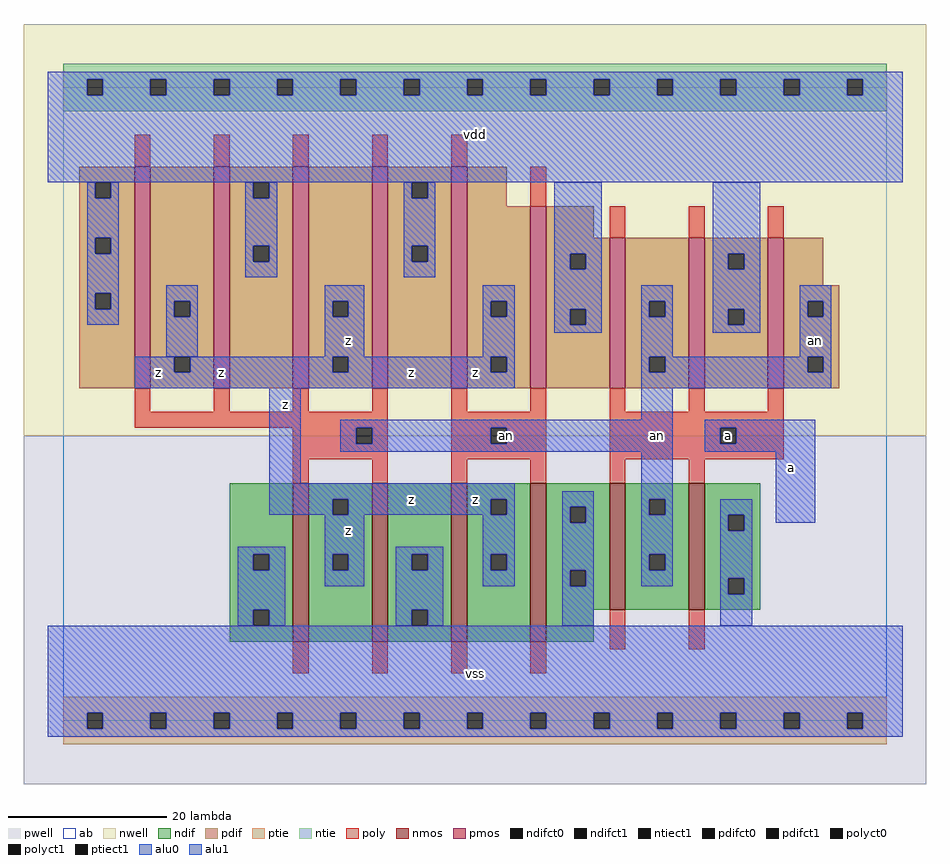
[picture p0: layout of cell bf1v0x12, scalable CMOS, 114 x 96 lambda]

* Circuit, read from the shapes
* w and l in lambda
.subckt bf1v0x12 a an vdd vss z
M1 z an vss vss nfet w=20 l=2 m=4
M2 an a vss vss nfet w=16 l=2 m=2
M3 z an vdd vdd pfet w=28 l=2 m=5
M4 vdd an z vdd pfet w=23 l=2
M5 an a vdd vdd pfet w=19 l=2 m=3
.ends

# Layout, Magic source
magic
tech scmos
<< ab >>
rect 0 0 104 80
<< nwell >>
rect -5 36 109 88
<< pwell >>
rect -5 -8 109 36
<< poly >>
rect 9 70 11 74
rect 19 70 21 74
rect 29 70 31 74
rect 39 70 41 74
rect 49 70 51 74
rect 59 65 61 70
rect 69 61 71 65
rect 79 61 81 65
rect 89 61 91 65
rect 9 39 11 42
rect 19 39 21 42
rect 29 39 31 42
rect 39 39 41 42
rect 9 37 41 39
rect 29 35 37 37
rect 39 35 41 37
rect 29 33 41 35
rect 29 30 31 33
rect 39 30 41 33
rect 49 39 51 42
rect 59 39 61 42
rect 49 37 61 39
rect 49 35 54 37
rect 56 35 61 37
rect 49 33 61 35
rect 49 30 51 33
rect 59 30 61 33
rect 69 39 71 42
rect 79 39 81 42
rect 89 39 91 42
rect 69 37 91 39
rect 69 35 83 37
rect 85 35 91 37
rect 69 33 91 35
rect 69 30 71 33
rect 79 30 81 33
rect 29 6 31 10
rect 39 6 41 10
rect 49 6 51 10
rect 59 6 61 10
rect 69 9 71 14
rect 79 9 81 14
<< ndif >>
rect 21 21 29 30
rect 21 19 24 21
rect 26 19 29 21
rect 21 14 29 19
rect 21 12 24 14
rect 26 12 29 14
rect 21 10 29 12
rect 31 28 39 30
rect 31 26 34 28
rect 36 26 39 28
rect 31 21 39 26
rect 31 19 34 21
rect 36 19 39 21
rect 31 10 39 19
rect 41 21 49 30
rect 41 19 44 21
rect 46 19 49 21
rect 41 14 49 19
rect 41 12 44 14
rect 46 12 49 14
rect 41 10 49 12
rect 51 28 59 30
rect 51 26 54 28
rect 56 26 59 28
rect 51 21 59 26
rect 51 19 54 21
rect 56 19 59 21
rect 51 10 59 19
rect 61 27 69 30
rect 61 25 64 27
rect 66 25 69 27
rect 61 19 69 25
rect 61 17 64 19
rect 66 17 69 19
rect 61 14 69 17
rect 71 28 79 30
rect 71 26 74 28
rect 76 26 79 28
rect 71 21 79 26
rect 71 19 74 21
rect 76 19 79 21
rect 71 14 79 19
rect 81 26 88 30
rect 81 24 84 26
rect 86 24 88 26
rect 81 18 88 24
rect 81 16 84 18
rect 86 16 88 18
rect 81 14 88 16
rect 61 10 67 14
<< pdif >>
rect 2 68 9 70
rect 2 66 4 68
rect 6 66 9 68
rect 2 61 9 66
rect 2 59 4 61
rect 6 59 9 61
rect 2 54 9 59
rect 2 52 4 54
rect 6 52 9 54
rect 2 42 9 52
rect 11 53 19 70
rect 11 51 14 53
rect 16 51 19 53
rect 11 46 19 51
rect 11 44 14 46
rect 16 44 19 46
rect 11 42 19 44
rect 21 68 29 70
rect 21 66 24 68
rect 26 66 29 68
rect 21 60 29 66
rect 21 58 24 60
rect 26 58 29 60
rect 21 42 29 58
rect 31 53 39 70
rect 31 51 34 53
rect 36 51 39 53
rect 31 46 39 51
rect 31 44 34 46
rect 36 44 39 46
rect 31 42 39 44
rect 41 68 49 70
rect 41 66 44 68
rect 46 66 49 68
rect 41 60 49 66
rect 41 58 44 60
rect 46 58 49 60
rect 41 42 49 58
rect 51 65 56 70
rect 51 53 59 65
rect 51 51 54 53
rect 56 51 59 53
rect 51 46 59 51
rect 51 44 54 46
rect 56 44 59 46
rect 51 42 59 44
rect 61 61 67 65
rect 61 59 69 61
rect 61 57 64 59
rect 66 57 69 59
rect 61 52 69 57
rect 61 50 64 52
rect 66 50 69 52
rect 61 42 69 50
rect 71 53 79 61
rect 71 51 74 53
rect 76 51 79 53
rect 71 46 79 51
rect 71 44 74 46
rect 76 44 79 46
rect 71 42 79 44
rect 81 59 89 61
rect 81 57 84 59
rect 86 57 89 59
rect 81 52 89 57
rect 81 50 84 52
rect 86 50 89 52
rect 81 42 89 50
rect 91 55 96 61
rect 91 53 98 55
rect 91 51 94 53
rect 96 51 98 53
rect 91 46 98 51
rect 91 44 94 46
rect 96 44 98 46
rect 91 42 98 44
<< alu1 >>
rect -2 81 106 82
rect -2 79 3 81
rect 5 79 11 81
rect 13 79 19 81
rect 21 79 27 81
rect 29 79 35 81
rect 37 79 43 81
rect 45 79 51 81
rect 53 79 59 81
rect 61 79 67 81
rect 69 79 75 81
rect 77 79 83 81
rect 85 79 91 81
rect 93 79 99 81
rect 101 79 106 81
rect -2 68 106 79
rect 33 53 38 55
rect 33 51 34 53
rect 36 51 38 53
rect 33 46 38 51
rect 53 53 57 55
rect 53 51 54 53
rect 56 51 57 53
rect 53 46 57 51
rect 9 44 14 46
rect 16 44 34 46
rect 36 44 54 46
rect 56 44 57 46
rect 9 42 57 44
rect 26 30 30 42
rect 81 37 95 38
rect 81 35 83 37
rect 85 35 95 37
rect 81 34 95 35
rect 26 28 57 30
rect 26 26 34 28
rect 36 26 54 28
rect 56 26 57 28
rect 33 21 38 26
rect 33 19 34 21
rect 36 19 38 21
rect 33 17 38 19
rect 53 21 57 26
rect 53 19 54 21
rect 56 19 57 21
rect 53 17 57 19
rect 90 25 95 34
rect -2 1 106 12
rect -2 -1 3 1
rect 5 -1 11 1
rect 13 -1 19 1
rect 21 -1 27 1
rect 29 -1 35 1
rect 37 -1 43 1
rect 45 -1 51 1
rect 53 -1 59 1
rect 61 -1 67 1
rect 69 -1 75 1
rect 77 -1 83 1
rect 85 -1 91 1
rect 93 -1 99 1
rect 101 -1 106 1
rect -2 -2 106 -1
<< ptie >>
rect 0 1 104 3
rect 0 -1 3 1
rect 5 -1 11 1
rect 13 -1 19 1
rect 21 -1 27 1
rect 29 -1 35 1
rect 37 -1 43 1
rect 45 -1 51 1
rect 53 -1 59 1
rect 61 -1 67 1
rect 69 -1 75 1
rect 77 -1 83 1
rect 85 -1 91 1
rect 93 -1 99 1
rect 101 -1 104 1
rect 0 -3 104 -1
<< ntie >>
rect 0 81 104 83
rect 0 79 3 81
rect 5 79 11 81
rect 13 79 19 81
rect 21 79 27 81
rect 29 79 35 81
rect 37 79 43 81
rect 45 79 51 81
rect 53 79 59 81
rect 61 79 67 81
rect 69 79 75 81
rect 77 79 83 81
rect 85 79 91 81
rect 93 79 99 81
rect 101 79 104 81
rect 0 77 104 79
<< nmos >>
rect 29 10 31 30
rect 39 10 41 30
rect 49 10 51 30
rect 59 10 61 30
rect 69 14 71 30
rect 79 14 81 30
<< pmos >>
rect 9 42 11 70
rect 19 42 21 70
rect 29 42 31 70
rect 39 42 41 70
rect 49 42 51 70
rect 59 42 61 65
rect 69 42 71 61
rect 79 42 81 61
rect 89 42 91 61
<< polyct0 >>
rect 37 35 39 37
rect 54 35 56 37
<< polyct1 >>
rect 83 35 85 37
<< ndifct0 >>
rect 24 19 26 21
rect 24 12 26 14
rect 44 19 46 21
rect 44 12 46 14
rect 64 25 66 27
rect 64 17 66 19
rect 74 26 76 28
rect 74 19 76 21
rect 84 24 86 26
rect 84 16 86 18
<< ndifct1 >>
rect 34 26 36 28
rect 34 19 36 21
rect 54 26 56 28
rect 54 19 56 21
<< ntiect1 >>
rect 3 79 5 81
rect 11 79 13 81
rect 19 79 21 81
rect 27 79 29 81
rect 35 79 37 81
rect 43 79 45 81
rect 51 79 53 81
rect 59 79 61 81
rect 67 79 69 81
rect 75 79 77 81
rect 83 79 85 81
rect 91 79 93 81
rect 99 79 101 81
<< ptiect1 >>
rect 3 -1 5 1
rect 11 -1 13 1
rect 19 -1 21 1
rect 27 -1 29 1
rect 35 -1 37 1
rect 43 -1 45 1
rect 51 -1 53 1
rect 59 -1 61 1
rect 67 -1 69 1
rect 75 -1 77 1
rect 83 -1 85 1
rect 91 -1 93 1
rect 99 -1 101 1
<< pdifct0 >>
rect 4 66 6 68
rect 4 59 6 61
rect 4 52 6 54
rect 14 51 16 53
rect 24 66 26 68
rect 24 58 26 60
rect 44 66 46 68
rect 44 58 46 60
rect 64 57 66 59
rect 64 50 66 52
rect 74 51 76 53
rect 74 44 76 46
rect 84 57 86 59
rect 84 50 86 52
rect 94 51 96 53
rect 94 44 96 46
<< pdifct1 >>
rect 14 44 16 46
rect 34 51 36 53
rect 34 44 36 46
rect 54 51 56 53
rect 54 44 56 46
<< alu0 >>
rect 3 66 4 68
rect 6 66 7 68
rect 3 61 7 66
rect 3 59 4 61
rect 6 59 7 61
rect 3 54 7 59
rect 23 66 24 68
rect 26 66 27 68
rect 23 60 27 66
rect 23 58 24 60
rect 26 58 27 60
rect 23 56 27 58
rect 43 66 44 68
rect 46 66 47 68
rect 43 60 47 66
rect 43 58 44 60
rect 46 58 47 60
rect 43 56 47 58
rect 62 59 68 68
rect 62 57 64 59
rect 66 57 68 59
rect 3 52 4 54
rect 6 52 7 54
rect 3 50 7 52
rect 13 53 17 55
rect 13 51 14 53
rect 16 51 17 53
rect 13 46 17 51
rect 62 52 68 57
rect 82 59 88 68
rect 82 57 84 59
rect 86 57 88 59
rect 62 50 64 52
rect 66 50 68 52
rect 62 49 68 50
rect 73 53 77 55
rect 73 51 74 53
rect 76 51 77 53
rect 73 46 77 51
rect 82 52 88 57
rect 82 50 84 52
rect 86 50 88 52
rect 82 49 88 50
rect 93 53 97 55
rect 93 51 94 53
rect 96 51 97 53
rect 93 46 97 51
rect 73 44 74 46
rect 76 44 94 46
rect 96 44 97 46
rect 73 42 97 44
rect 73 38 77 42
rect 35 37 77 38
rect 35 35 37 37
rect 39 35 54 37
rect 56 35 77 37
rect 35 34 77 35
rect 22 21 28 22
rect 22 19 24 21
rect 26 19 28 21
rect 22 14 28 19
rect 42 21 48 22
rect 42 19 44 21
rect 46 19 48 21
rect 22 12 24 14
rect 26 12 28 14
rect 42 14 48 19
rect 63 27 67 29
rect 63 25 64 27
rect 66 25 67 27
rect 63 19 67 25
rect 63 17 64 19
rect 66 17 67 19
rect 73 28 77 34
rect 73 26 74 28
rect 76 26 77 28
rect 73 21 77 26
rect 73 19 74 21
rect 76 19 77 21
rect 73 17 77 19
rect 83 26 87 28
rect 83 24 84 26
rect 86 24 87 26
rect 83 18 87 24
rect 42 12 44 14
rect 46 12 48 14
rect 63 12 67 17
rect 83 16 84 18
rect 86 16 87 18
rect 83 12 87 16
<< labels >>
rlabel alu0 56 36 56 36 6 an
rlabel alu0 75 36 75 36 6 an
rlabel alu0 95 48 95 48 6 an
rlabel alu1 20 44 20 44 6 z
rlabel alu1 12 44 12 44 6 z
rlabel alu1 44 28 44 28 6 z
rlabel alu1 36 24 36 24 6 z
rlabel alu1 44 44 44 44 6 z
rlabel alu1 28 40 28 40 6 z
rlabel alu1 36 48 36 48 6 z
rlabel alu1 52 6 52 6 6 vss
rlabel alu1 52 28 52 28 6 z
rlabel alu1 52 44 52 44 6 z
rlabel alu1 52 74 52 74 6 vdd
rlabel alu1 92 32 92 32 6 a
rlabel polyct1 84 36 84 36 6 a
<< end >>
